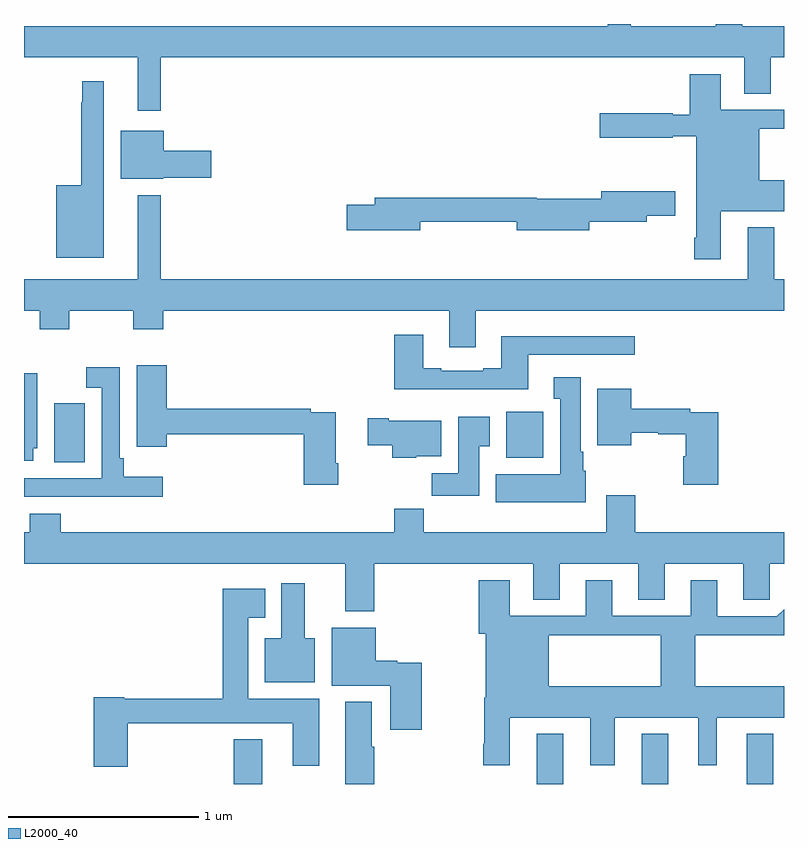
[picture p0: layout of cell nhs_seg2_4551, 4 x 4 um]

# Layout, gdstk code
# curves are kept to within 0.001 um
import gdstk
lib = gdstk.Library(unit=1e-6, precision=1e-09)
def R(c, l, rs):  # rectangles x0, y0, x1, y1
    for r in rs: c.add(gdstk.rectangle(r[:2], r[2:], *l))
def A(c, l, x, y, w, h, nx, ny, dx, dy):  # array of equal rectangles
    R(c, l, [(x+i*dx, y+j*dy, x+i*dx+w, y+j*dy+h) for i in range(nx) for j in range(ny)])
def P(c, l, *ps):  # polygons
    for p in ps: c.add(gdstk.Polygon(p, *l))
L2000_40 = (2000, 40)

nhs_seg2_4551 = lib.new_cell('nhs_seg2_4551')
A(nhs_seg2_4551, L2000_40, 359.699, 655.8, 0.14, 0.265, 3, 1, 0.552, 0)
R(nhs_seg2_4551, L2000_40, [(358.103,655.8,358.255,656.035), (357.158,657.493,357.319,657.804), (359.537,657.518,359.734,657.76)])
P(nhs_seg2_4551, L2000_40, [(357.721,659.624),(360.791,659.624),(360.791,659.434),(360.931,659.434),(360.931,659.624),(361,659.624),(361,659.788),(360.781,659.788),(360.781,659.8),(360.642,659.8),(360.642,659.788),(360.193,659.788),(360.193,659.8),(360.072,659.8),(360.072,659.788),(357,659.788),(357,659.624),(357.599,659.624),(357.599,659.343),(357.721,659.343)],
  [(360.667,658.814),(361,658.814),(361,658.978),(360.871,658.978),(360.871,659.248),(361,659.248),(361,659.349),(360.667,659.349),(360.667,659.536),(360.503,659.536),(360.503,659.323),(360.414,659.323),(360.414,659.331),(360.03,659.331),(360.03,659.201),(360.414,659.201),(360.414,659.209),(360.539,659.209),(360.539,658.675),(360.527,658.675),(360.527,658.563),(360.667,658.563)],
  [(357.421,659.5),(357.307,659.5),(357.307,659.387),(357.3,659.387),(357.3,658.951),(357.17,658.951),(357.17,658.571),(357.421,658.571)],
  [(357.732,658.991),(357.985,658.991),(357.985,659.133),(357.736,659.133),(357.736,659.239),(357.509,659.239),(357.509,658.985),(357.732,658.985)],
  [(359.086,658.758),(359.594,658.758),(359.594,658.715),(359.974,658.715),(359.974,658.758),(360.277,658.758),(360.277,658.792),(360.427,658.792),(360.427,658.921),(360.038,658.921),(360.038,658.88),(359.698,658.88),(359.698,658.886),(358.847,658.886),(358.847,658.85),(358.698,658.85),(358.698,658.715),(359.086,658.715)],
  [(359.377,658.292),(361,658.292),(361,658.456),(360.949,658.456),(360.949,658.729),(360.809,658.729),(360.809,658.456),(357.721,658.456),(357.721,658.9),(357.599,658.9),(357.599,658.456),(357,658.456),(357,658.292),(357.082,658.292),(357.082,658.193),(357.237,658.193),(357.237,658.292),(357.574,658.292),(357.574,658.193),(357.734,658.193),(357.734,658.292),(359.237,658.292),(359.237,658.098),(359.377,658.098)],
  [(359.653,658.059),(360.214,658.059),(360.214,658.156),(359.513,658.156),(359.513,657.988),(359.417,657.988),(359.417,657.975),(359.197,657.975),(359.197,657.988),(359.101,657.988),(359.101,658.165),(358.949,658.165),(358.949,657.878),(359.653,657.878)],
  [(358.655,657.487),(358.642,657.487),(358.642,657.756),(358.508,657.756),(358.508,657.776),(357.752,657.776),(357.752,658.003),(357.593,658.003),(357.593,657.576),(357.752,657.576),(357.752,657.64),(358.472,657.64),(358.472,657.375),(358.655,657.375)],
  [(357.73,657.418),(357.524,657.418),(357.524,657.514),(357.504,657.514),(357.504,657.994),(357.327,657.994),(357.327,657.885),(357.408,657.885),(357.408,657.408),(357,657.408),(357,657.312),(357.311,657.312),(357.311,657.311),(357.73,657.311)],
  [(357.049,657.567),(357.07,657.567),(357.07,657.961),(357,657.961),(357,657.501),(357.049,657.501)],
  [(359.956,657.45),(359.944,657.45),(359.944,657.55),(359.929,657.55),(359.929,657.94),(359.789,657.94),(359.789,657.827),(359.822,657.827),(359.822,657.43),(359.483,657.43),(359.483,657.284),(359.956,657.284)],
  [(360.653,657.756),(360.506,657.756),(360.506,657.776),(360.196,657.776),(360.196,657.88),(360.017,657.88),(360.017,657.584),(360.196,657.584),(360.196,657.648),(360.339,657.648),(360.339,657.64),(360.482,657.64),(360.482,657.525),(360.47,657.525),(360.47,657.375),(360.653,657.375)],
  [(359.395,657.577),(359.452,657.577),(359.452,657.733),(359.285,657.733),(359.285,657.436),(359.146,657.436),(359.146,657.318),(359.395,657.318)],
  [(359.064,657.524),(359.197,657.524),(359.197,657.712),(358.921,657.712),(358.921,657.725),(358.809,657.725),(358.809,657.583),(358.939,657.583),(358.939,657.518),(359.064,657.518)],
  [(358.844,656.96),(359.681,656.96),(359.681,656.77),(359.821,656.77),(359.821,656.96),(360.233,656.96),(360.233,656.77),(360.373,656.77),(360.373,656.96),(360.785,656.96),(360.785,656.77),(360.924,656.77),(360.924,656.96),(361,656.96),(361,657.124),(360.218,657.124),(360.218,657.319),(360.065,657.319),(360.065,657.124),(359.105,657.124),(359.105,657.248),(358.949,657.248),(358.949,657.124),(357.194,657.124),(357.194,657.223),(357.029,657.223),(357.029,657.124),(357,657.124),(357,656.96),(358.691,656.96),(358.691,656.708),(358.844,656.708)],
  [(359.422,656.254),(359.422,656.011),(359.417,656.011),(359.417,655.899),(359.557,655.899),(359.557,656.15),(359.981,656.15),(359.981,655.899),(360.109,655.899),(360.109,656.15),(360.548,656.15),(360.548,655.899),(360.646,655.899),(360.646,656.15),(361,656.15),(361,656.314),(360.533,656.314),(360.533,656.582),(361,656.582),(361,656.719),(360.963,656.682),(360.649,656.682),(360.649,656.872),(360.509,656.872),(360.509,656.685),(360.097,656.685),(360.097,656.872),(359.957,656.872),(359.957,656.685),(359.557,656.685),(359.557,656.872),(359.393,656.872),(359.393,656.592),(359.429,656.592),(359.429,656.314),(359.761,656.314),(359.761,656.584),(360.35,656.584),(360.35,656.314),(359.429,656.314),(359.429,656.254)],
  [(358.531,656.566),(358.477,656.566),(358.477,656.857),(358.355,656.857),(358.355,656.566),(358.268,656.566),(358.268,656.336),(358.531,656.336)],
  [(357.545,656.121),(358.062,656.121),(358.062,656.12),(358.415,656.12),(358.415,655.896),(358.555,655.896),(358.555,656.248),(358.18,656.248),(358.18,656.675),(358.27,656.675),(358.27,656.827),(358.046,656.827),(358.046,656.249),(357.528,656.249),(357.528,656.257),(357.367,656.257),(357.367,655.89),(357.545,655.89)],
  [(359.094,656.437),(358.965,656.437),(358.965,656.45),(358.852,656.45),(358.852,656.623),(358.619,656.623),(358.619,656.318),(358.928,656.318),(358.928,656.085),(359.094,656.085)],
  [(358.844,655.997),(358.831,655.997),(358.831,656.233),(358.691,656.233),(358.691,655.8),(358.844,655.8)])

lib.write_gds('nhs_seg2_4551.gds')
